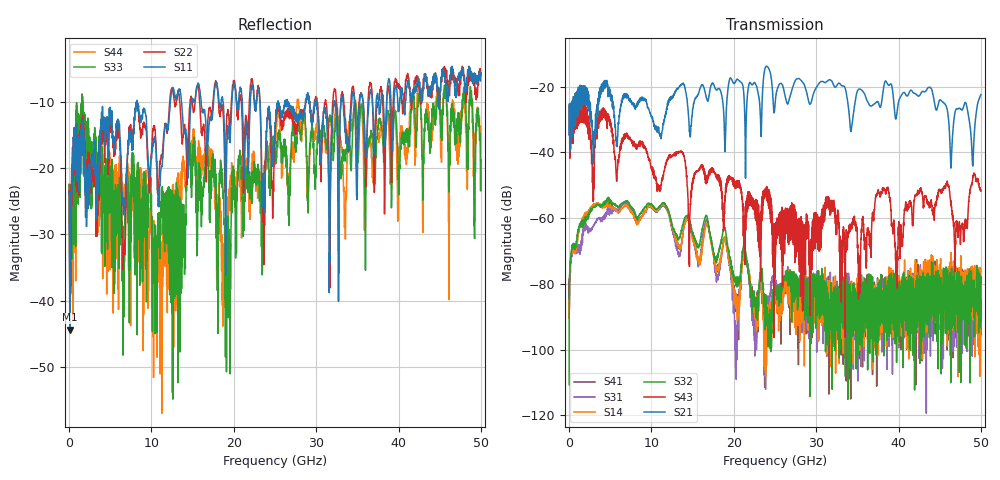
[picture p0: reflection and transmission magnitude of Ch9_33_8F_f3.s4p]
!Agilent Technologies,N5247A,US51170199,A.09.90.13
!Agilent N5247A: A.09.90.13
!Date: Wednesday, December 16, 2015 12:10:44
!Correction: S11(Full 4 Port(1,2,3,4))
!S12(Full 4 Port(1,2,3,4))
!S13(Full 4 Port(1,2,3,4))
!S14(Full 4 Port(1,2,3,4))
!S21(Full 4 Port(1,2,3,4))
!S22(Full 4 Port(1,2,3,4))
!S23(Full 4 Port(1,2,3,4))
!S24(Full 4 Port(1,2,3,4))
!S31(Full 4 Port(1,2,3,4))
!S32(Full 4 Port(1,2,3,4))
!S33(Full 4 Port(1,2,3,4))
!S34(Full 4 Port(1,2,3,4))
!S41(Full 4 Port(1,2,3,4))
!S42(Full 4 Port(1,2,3,4))
!S43(Full 4 Port(1,2,3,4))
!S44(Full 4 Port(1,2,3,4))
!S4P File: Measurements: <S11,S12,S13,S14>,
!<S21,S22,S23,S24>,
!<S31,S32,S33,S34>,
!<S41,S42,S43,S44>:
# Hz S  dB  R 50
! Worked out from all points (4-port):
!   3201 points, 10 MHz to 50 GHz, reference 50 ohm
!   strongest paths, dB at 10 MHz, 12.51 GHz, 25 GHz, 37.5 GHz, 50 GHz:
!     S21: -34.4, -23.5, -25.7, -24.6, -22.4
!     S43: -34.7, -41.2, -61.7, -52.0, -51.8
!     S32: -110.7, -62.0, -80.7, -91.0, -79.9
!     S14: -84.9, -62.6, -83.6, -78.7, -75.3
!     S31: -85.7, -63.5, -79.4, -89.4, -95.3
!     S41: -78.5, -62.6, -82.6, -84.0, -84.1
!   lowest |S11| = -44.4 dB at 88.11 MHz (marker M1), VSWR 1.01, Z = 50.4 + j0.488 ohm
!   |S11| at or under -10 dB: start of sweep to 8.214 GHz; 8.25 GHz to 12.28 GHz (4.029 GHz wide, 39.3 % of centre); 23.19 GHz to 25.35 GHz (2.169 GHz wide, 8.94 % of centre)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
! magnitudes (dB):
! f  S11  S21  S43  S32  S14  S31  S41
! 10 MHz  -23.7  -34.4  -34.7  -110.7  -84.9  -85.7  -78.5
! 88.11 MHz  -44.4  -39.6  -41.8  -76.7  -77.6  -79.4  -76.7
! 6.915 GHz  -22.1  -22.6  -35.1  -54.8  -56.1  -55.4  -56.2
! 18.76 GHz  -10.6  -27.1  -63.9  -63.3  -67.1  -66.7  -67.0
! 35.24 GHz  -10.7  -20.7  -79.8  -86.6  -89.6  -85.5  -90.3
! 38.11 GHz  -8.9  -21.6  -50.9  -83.1  -93.3  -80.9  -83.5
! 50 GHz  -5.7  -22.4  -51.8  -79.9  -75.3  -95.3  -84.1
